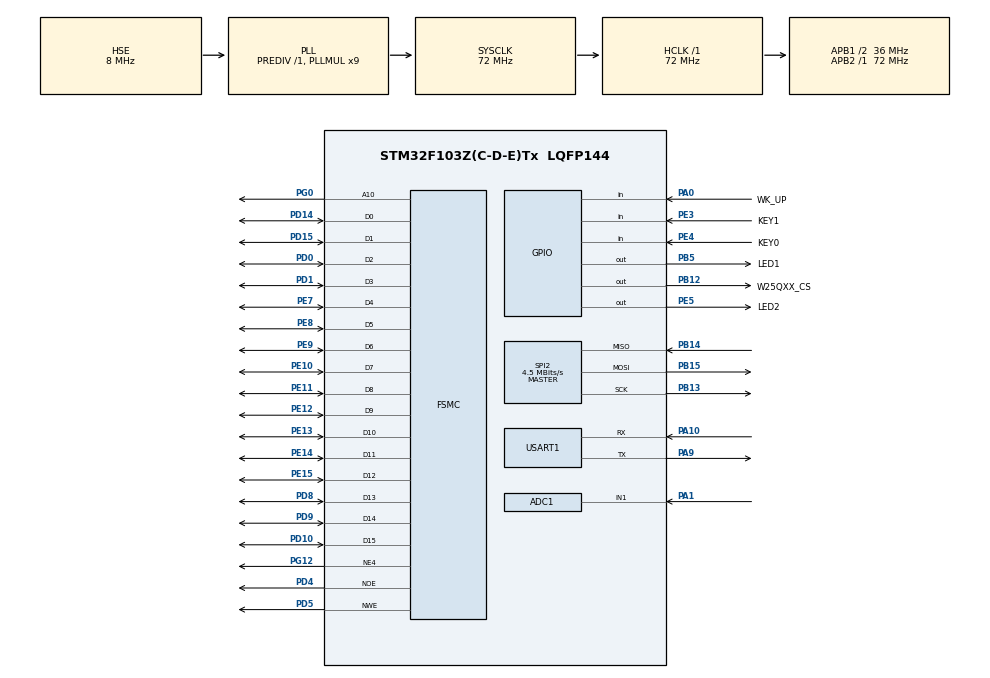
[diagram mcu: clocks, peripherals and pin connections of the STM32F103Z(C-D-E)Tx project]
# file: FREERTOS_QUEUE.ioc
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ADC1.Channel-1\#ChannelRegularConversion=ADC_CHANNEL_1
ADC1.NbrOfConversionFlag=1
ADC1.Rank-1\#ChannelRegularConversion=1
ADC1.SamplingTime-1\#ChannelRegularConversion=ADC_SAMPLETIME_1CYCLE_5
ADC1.master=1
FREERTOS.INCLUDE_xEventGroupSetBitFromISR=1
FREERTOS.INCLUDE_xTaskAbortDelay=1
FREERTOS.INCLUDE_xTaskGetCurrentTaskHandle=1
FREERTOS.INCLUDE_xTaskGetHandle=1
FREERTOS.Queues01=Queue_Keys,10,uint8_t,0,Dynamic,NULL,NULL
FREERTOS.Tasks01=Task_Draw,16,128,AppTask_Draw,Default,NULL,Dynamic,NULL,NULL;Task_ScanKeys,24,128,AppTask_ScanKeys,Default,NULL,Dynamic,NULL,NULL
FSMC.AddressSetupTime4=6
FSMC.BusTurnAroundDuration4=0
FSMC.DataSetupTime4=26
FSMC.ExtendedAddressSetupTime4=3
FSMC.ExtendedBusTurnAroundDuration4=0
FSMC.ExtendedDataSetupTime4=6
FSMC.ExtendedMode4=FSMC_EXTENDED_MODE_ENABLE
Mcu.Family=STM32F1
Mcu.Name=STM32F103Z(C-D-E)Tx
Mcu.Package=LQFP144
NVIC.PriorityGroup=NVIC_PRIORITYGROUP_4
NVIC.RTC_Alarm_IRQn=true\:5\:0\:false\:false\:true\:true\:true\:true\:true
NVIC.RTC_IRQn=true\:5\:0\:false\:false\:true\:true\:true\:true\:true
NVIC.TIM6_IRQn=true\:15\:0\:false\:false\:true\:false\:false\:true\:true
NVIC.TimeBase=TIM6_IRQn
NVIC.TimeBaseIP=TIM6
NVIC.USART1_IRQn=true\:5\:0\:false\:false\:true\:true\:true\:true\:true
OSC_IN.Mode=HSE-External-Oscillator
OSC_IN.Signal=RCC_OSC_IN
OSC_OUT.Mode=HSE-External-Oscillator
OSC_OUT.Signal=RCC_OSC_OUT
PA0-WKUP.GPIO_Label=WK_UP
PA0-WKUP.GPIO_PuPd=GPIO_PULLDOWN
PA0-WKUP.Signal=GPIO_Input
PA1.Signal=ADCx_IN1
PA10.Mode=Asynchronous
PA10.Signal=USART1_RX
PA13.Mode=Serial_Wire
PA13.Signal=SYS_JTMS-SWDIO
PA14.Mode=Serial_Wire
PA14.Signal=SYS_JTCK-SWCLK
PA9.Mode=Asynchronous
PA9.Signal=USART1_TX
PB12.GPIO_Label=W25QXX_CS
PB12.GPIO_PuPd=GPIO_PULLUP
PB12.GPIO_Speed=GPIO_SPEED_FREQ_HIGH
PB12.PinState=GPIO_PIN_SET
PB12.Signal=GPIO_Output
PB13.Mode=Full_Duplex_Master
PB13.Signal=SPI2_SCK
PB14.Mode=Full_Duplex_Master
PB14.Signal=SPI2_MISO
PB15.Mode=Full_Duplex_Master
PB15.Signal=SPI2_MOSI
PB5.GPIO_Label=LED1
PB5.GPIO_Speed=GPIO_SPEED_FREQ_HIGH
PB5.Signal=GPIO_Output
PC14-OSC32_IN.Mode=LSE-External-Oscillator
PC14-OSC32_IN.Signal=RCC_OSC32_IN
PC15-OSC32_OUT.Mode=LSE-External-Oscillator
PC15-OSC32_OUT.Signal=RCC_OSC32_OUT
PD0.Signal=FSMC_D2_DA2
PD1.Signal=FSMC_D3_DA3
PD10.Signal=FSMC_D15_DA15
PD14.Signal=FSMC_D0_DA0
PD15.Signal=FSMC_D1_DA1
PD4.Signal=FSMC_NOE
PD5.Signal=FSMC_NWE
PD8.Signal=FSMC_D13_DA13
PD9.Signal=FSMC_D14_DA14
PE10.Signal=FSMC_D7_DA7
PE11.Signal=FSMC_D8_DA8
PE12.Signal=FSMC_D9_DA9
PE13.Signal=FSMC_D10_DA10
PE14.Signal=FSMC_D11_DA11
PE15.Signal=FSMC_D12_DA12
PE3.GPIO_Label=KEY1
PE3.GPIO_PuPd=GPIO_PULLUP
PE3.Signal=GPIO_Input
PE4.GPIO_Label=KEY0
PE4.GPIO_PuPd=GPIO_PULLUP
PE4.Signal=GPIO_Input
PE5.GPIO_Label=LED2
PE5.GPIO_Speed=GPIO_SPEED_FREQ_HIGH
PE5.Signal=GPIO_Output
PE7.Signal=FSMC_D4_DA4
PE8.Signal=FSMC_D5_DA5
PE9.Signal=FSMC_D6_DA6
PG0.Signal=FSMC_A10
PG12.Mode=NorPsramChipSelect4_4
PG12.Signal=FSMC_NE4
ProjectManager.HeapSize=0x200
ProjectManager.StackSize=0x400
ProjectManager.TargetToolchain=STM32CubeIDE
RCC.AHBFreq_Value=72000000
RCC.APB1CLKDivider=RCC_HCLK_DIV2
RCC.APB1Freq_Value=36000000
RCC.APB1TimFreq_Value=72000000
RCC.APB2Freq_Value=72000000
RCC.APB2TimFreq_Value=72000000
RCC.HCLKFreq_Value=72000000
RCC.PLLMUL=RCC_PLL_MUL9
RCC.PLLSourceVirtual=RCC_PLLSOURCE_HSE
RCC.RTCClockSelection=RCC_RTCCLKSOURCE_LSE
RCC.SYSCLKFreq_VALUE=72000000
RCC.SYSCLKSource=RCC_SYSCLKSOURCE_PLLCLK
RCC.USBFreq_Value=72000000
RTC.AutoPrediv=RTC_AUTO_1_SECOND
RTC.Format=RTC_FORMAT_BIN
SH.ADCx_IN1.0=ADC1_IN1,IN1
SH.FSMC_A10.0=FSMC_A10,A10_4
SH.FSMC_D0_DA0.0=FSMC_D0,16b-d4
SH.FSMC_D10_DA10.0=FSMC_D10,16b-d4
SH.FSMC_D11_DA11.0=FSMC_D11,16b-d4
SH.FSMC_D12_DA12.0=FSMC_D12,16b-d4
SH.FSMC_D13_DA13.0=FSMC_D13,16b-d4
SH.FSMC_D14_DA14.0=FSMC_D14,16b-d4
SH.FSMC_D15_DA15.0=FSMC_D15,16b-d4
SH.FSMC_D1_DA1.0=FSMC_D1,16b-d4
SH.FSMC_D2_DA2.0=FSMC_D2,16b-d4
SH.FSMC_D3_DA3.0=FSMC_D3,16b-d4
SH.FSMC_D4_DA4.0=FSMC_D4,16b-d4
SH.FSMC_D5_DA5.0=FSMC_D5,16b-d4
SH.FSMC_D6_DA6.0=FSMC_D6,16b-d4
SH.FSMC_D7_DA7.0=FSMC_D7,16b-d4
SH.FSMC_D8_DA8.0=FSMC_D8,16b-d4
SH.FSMC_D9_DA9.0=FSMC_D9,16b-d4
SH.FSMC_NOE.0=FSMC_NOE,Lcd4
SH.FSMC_NWE.0=FSMC_NWE,Lcd4
SPI2.BaudRatePrescaler=SPI_BAUDRATEPRESCALER_8
SPI2.CLKPhase=SPI_PHASE_2EDGE
SPI2.CLKPolarity=SPI_POLARITY_HIGH
SPI2.CRCCalculation=SPI_CRCCALCULATION_DISABLE
SPI2.CalculateBaudRate=4.5 MBits/s
SPI2.Direction=SPI_DIRECTION_2LINES
SPI2.Mode=SPI_MODE_MASTER
SPI2.VirtualType=VM_MASTER
USART1.VirtualMode=VM_ASYNC
VP_FREERTOS_VS_CMSIS_V2.Mode=CMSIS_V2
VP_RTC_VS_RTC_Activate.Mode=RTC_Enabled
VP_SYS_VS_tim6.Mode=TIM6
board=custom

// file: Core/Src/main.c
/* USER CODE BEGIN Header */
/**
  ******************************************************************************
  * @file           : main.c
  * @brief          : Main program body
  ******************************************************************************
  * @attention
  *
  * Copyright (c) 2023 STMicroelectronics.
  * All rights reserved.
  *
  * This software is licensed under terms that can be found in the LICENSE file
  * in the root directory of this software component.
  * If no LICENSE file comes with this software, it is provided AS-IS.
  *
  ******************************************************************************
  */
/* USER CODE END Header */
#include "main.h"
#include "cmsis_os.h"
#include "adc.h"
#include "rtc.h"
#include "spi.h"
#include "usart.h"
#include "gpio.h"
#include "fsmc.h"

/* USER CODE BEGIN Includes */
#include "stdio.h"
#include "lcd.h"
#include "w25qxx.h"
#include <string.h>
/* USER CODE END Includes */

void SystemClock_Config(void);
void MX_FREERTOS_Init(void);

int main(void)
{
  /* USER CODE BEGIN 1 */
	int x = 0,FLASH_SIZE,id;
	u8 lcd_id[12],datatemp[20];						//存放LCD ID字符�????????????????
  /* USER CODE END 1 */

  /* MCU Configuration--------------------------------------------------------*/

  /* Reset of all peripherals, Initializes the Flash interface and the Systick. */
  HAL_Init();

  /* Configure the system clock */
  SystemClock_Config();

  /* Initialize all configured peripherals */
  MX_GPIO_Init();
  MX_USART1_UART_Init();
  MX_FSMC_Init();
  MX_SPI2_Init();
  MX_RTC_Init();
  MX_ADC1_Init();
  /* USER CODE BEGIN 2 */
	LCD_Init();
	POINT_COLOR=RED;     				//画笔颜色：红�????????????????
//	sprintf((char*)lcd_id,"LCD ID:%04X",lcddev.id);//将LCD ID打印到lcd_id数组�????????????????
	LCD_Clear(WHITE);
//	POINT_COLOR=RED;
//	LCD_ShowString(30,40,210,24,24,"WarShip STM32 ^_^");
//	//LCD_ShowString(30,70,200,16,16,"TFTLCD TEST");
//	LCD_ShowString(30,70,200,16,16,"ATOM@ALIENTEK");
//	LCD_ShowString(30,90,200,16,16,lcd_id);		//显示LCD ID
//	//LCD_ShowString(30,110,200,12,12,"2017/5/27");
//	//LCD_ShowString(30,110,200,16,16,"KEY1:Write KEY0:Read  WK_UP:ADD");	//显示提示信息
//	LCD_ShowString(30,110,200,12,12,"RTC TEST");

	////2.设置时间
	//rtc_set_time(2023, 7, 12, 18, 15, 0);
	RTC_TimeTypeDef nTime;
	RTC_DateTypeDef nData;
//	nTime.Hours = 18;
//	nTime.Minutes = 26;
//	nTime.Seconds = 0;
//	nData.Year = 23;
//	nData.Month = 7;
//	nData.Date = 12;
//	HAL_RTC_SetTime(&hrtc,&nTime,RTC_FORMAT_BIN);
//	HAL_RTC_SetDate(&hrtc, &nData, RTC_FORMAT_BIN);

	//rtc_get_time();
//	HAL_RTC_GetTime(&hrtc,&nTime,RTC_FORMAT_BIN);
//	HAL_RTC_GetDate(&hrtc, &nData, RTC_FORMAT_BIN);
//
//	sprintf((char*)datatemp,"%02d h,%02d m,%02d s",nTime.Hours,nTime.Minutes,nTime.Seconds);
//	//sprintf((char*)datatemp,"%02d h,%02d m,%02d s",calendar.hour,calendar.min,calendar.sec);
//	LCD_ShowString(30,150,200,12,12,datatemp);
//	memset(datatemp,'\0',sizeof(datatemp));
//	sprintf((char*)datatemp,"%04d y,%02d m,%02d d",nData.Year + 2000,nData.Month,nData.Date);
//	//sprintf((char*)datatemp,"%04d y,%02d m,%02d d",calendar.year,calendar.month,calendar.date);
//	LCD_ShowString(30,130,200,12,12,datatemp);
	//__HAL_RTC_ALARM_ENABLE_IT(&hrtc, RTC_IT_SEC);   /* 允许秒中�??????? */

	////4.闹钟
//	if(calendar.sec < 50)
//	{
//		calendar.sec += 10;
//	}
//	else
//	{
//		calendar.min += 1;
//		calendar.sec = 0;
//	}

//	RTC_AlarmTypeDef aTime;
//
//	aTime.Alarm = 0;
//	aTime.AlarmTime.Hours = nTime.Hours;
//	aTime.AlarmTime.Minutes = nTime.Minutes;
//	if(calendar.sec < 50)
//	{
//		aTime.AlarmTime.Seconds = nTime.Seconds + 10;
//	}
//	else
//	{
//		aTime.AlarmTime.Minutes += 1;
//		aTime.AlarmTime.Seconds = 0;
//	}
	//HAL_RTC_SetAlarm_IT(&hrtc,&aTime,RTC_FORMAT_BIN);

	//rtc_set_alarm(calendar.year, calendar.month, calendar.date, calendar.hour, calendar.min, calendar.sec);

  /* USER CODE END 2 */

  /* Init scheduler */
  osKernelInitialize();  /* Call init function for freertos objects (in freertos.c) */
  MX_FREERTOS_Init();

  /* Start scheduler */
  osKernelStart();
  /* We should never get here as control is now taken by the scheduler */
  /* Infinite loop */
  /* USER CODE BEGIN WHILE */
	while (1)
	{
		////1.获取时间
//		rtc_get_time();
//		sprintf((char*)datatemp,"%04d y,%02d m,%02d d",calendar.year,calendar.month,calendar.date);
//		LCD_ShowString(30,130,200,12,12,datatemp);
//		memset(datatemp,'\0',sizeof(datatemp));
//		sprintf((char*)datatemp,"%02d h,%02d m,%02d s",calendar.hour,calendar.min,calendar.sec);
//		LCD_ShowString(30,150,200,12,12,datatemp);
		//printf("test\n\r");
		osDelay(500);
		HAL_GPIO_TogglePin(LED1_GPIO_Port,LED1_Pin);
    /* USER CODE END WHILE */

  }
}

void SystemClock_Config(void)
{
  RCC_OscInitTypeDef RCC_OscInitStruct = {0};
  RCC_ClkInitTypeDef RCC_ClkInitStruct = {0};
  RCC_PeriphCLKInitTypeDef PeriphClkInit = {0};

  /** Initializes the RCC Oscillators according to the specified parameters
  * in the RCC_OscInitTypeDef structure.
  */
  RCC_OscInitStruct.OscillatorType = RCC_OSCILLATORTYPE_HSE|RCC_OSCILLATORTYPE_LSE;
  RCC_OscInitStruct.HSEState = RCC_HSE_ON;
  RCC_OscInitStruct.HSEPredivValue = RCC_HSE_PREDIV_DIV1;
  RCC_OscInitStruct.LSEState = RCC_LSE_ON;
  RCC_OscInitStruct.HSIState = RCC_HSI_ON;
  RCC_OscInitStruct.PLL.PLLState = RCC_PLL_ON;
  RCC_OscInitStruct.PLL.PLLSource = RCC_PLLSOURCE_HSE;
  RCC_OscInitStruct.PLL.PLLMUL = RCC_PLL_MUL9;
  if (HAL_RCC_OscConfig(&RCC_OscInitStruct) != HAL_OK)
  {
    Error_Handler();
  }

  /** Initializes the CPU, AHB and APB buses clocks
  */
  RCC_ClkInitStruct.ClockType = RCC_CLOCKTYPE_HCLK|RCC_CLOCKTYPE_SYSCLK
                              |RCC_CLOCKTYPE_PCLK1|RCC_CLOCKTYPE_PCLK2;
  RCC_ClkInitStruct.SYSCLKSource = RCC_SYSCLKSOURCE_PLLCLK;
  RCC_ClkInitStruct.AHBCLKDivider = RCC_SYSCLK_DIV1;
  RCC_ClkInitStruct.APB1CLKDivider = RCC_HCLK_DIV2;
  RCC_ClkInitStruct.APB2CLKDivider = RCC_HCLK_DIV1;

  if (HAL_RCC_ClockConfig(&RCC_ClkInitStruct, FLASH_LATENCY_2) != HAL_OK)
  {
    Error_Handler();
  }
  PeriphClkInit.PeriphClockSelection = RCC_PERIPHCLK_RTC|RCC_PERIPHCLK_ADC;
  PeriphClkInit.RTCClockSelection = RCC_RTCCLKSOURCE_LSE;
  PeriphClkInit.AdcClockSelection = RCC_ADCPCLK2_DIV2;
  if (HAL_RCCEx_PeriphCLKConfig(&PeriphClkInit) != HAL_OK)
  {
    Error_Handler();
  }
}

/* USER CODE BEGIN 4 */

void delay_us(uint32_t udelay)
{
  uint32_t startval,tickn,delays,wait;

  startval = SysTick->VAL;
  tickn = HAL_GetTick();
  //sysc = 72000;  //SystemCoreClock / (1000U / uwTickFreq);
  delays =udelay * 72; //sysc / 1000 * udelay;
  if(delays > startval)
    {
      while(HAL_GetTick() == tickn)
        {

        }
      wait = 72000 + startval - delays;
      while(wait < SysTick->VAL)
        {

        }
    }
  else
    {
      wait = startval - delays;
      while(wait < SysTick->VAL && HAL_GetTick() == tickn)
        {

        }
    }
}

void delay_ms(uint32_t udelay)
{
	HAL_Delay(udelay);
	//osDelay(udelay);
}
/* USER CODE END 4 */

void HAL_TIM_PeriodElapsedCallback(TIM_HandleTypeDef *htim)
{
  if (htim->Instance == TIM6) {
    HAL_IncTick();
  }
}

void Error_Handler(void)
{
  __disable_irq();
  while (1)
  {
  }
}

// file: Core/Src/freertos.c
/* USER CODE BEGIN Header */
/**
  ******************************************************************************
  * File Name          : freertos.c
  * Description        : Code for freertos applications
  ******************************************************************************
  * @attention
  *
  * Copyright (c) 2023 STMicroelectronics.
  * All rights reserved.
  *
  * This software is licensed under terms that can be found in the LICENSE file
  * in the root directory of this software component.
  * If no LICENSE file comes with this software, it is provided AS-IS.
  *
  ******************************************************************************
  */
/* USER CODE END Header */

#include "FreeRTOS.h"
#include "task.h"
#include "main.h"
#include "cmsis_os.h"

/* USER CODE BEGIN Includes */
#include "lcd.h"
#include "adc.h"
#include "gpio.h"
#include "queue.h"
/* USER CODE END Includes */

/* USER CODE BEGIN PD */
const uint8_t KeyCodeLeft =0x01; //按键代码KeyLeft
const uint8_t KeyCodeRight =0x02; //按键代码KeyRight
//const uint8_t KeyCodeUp =0x03; //按键代码KeyUp
const uint8_t KeyCodeDown =0x04; //按键代码KeyDown

uint16_t curScreenX=100; //LCD当前X
uint16_t curScreenY=260; //LCD当前Y
uint16_t lastScreenX=100; // LCD前一步的X
uint16_t lastScreenY=260; // LCD前一步的Y
/* USER CODE END PD */

/* Definitions for Task_Draw */
osThreadId_t Task_DrawHandle;
const osThreadAttr_t Task_Draw_attributes = {
  .name = "Task_Draw",
  .stack_size = 128 * 4,
  .priority = (osPriority_t) osPriorityBelowNormal,
};
/* Definitions for Task_ScanKeys */
osThreadId_t Task_ScanKeysHandle;
const osThreadAttr_t Task_ScanKeys_attributes = {
  .name = "Task_ScanKeys",
  .stack_size = 128 * 4,
  .priority = (osPriority_t) osPriorityNormal,
};
/* Definitions for Queue_Keys */
osMessageQueueId_t Queue_KeysHandle;
const osMessageQueueAttr_t Queue_Keys_attributes = {
  .name = "Queue_Keys"
};

void AppTask_Draw(void *argument);
void AppTask_ScanKeys(void *argument);

void MX_FREERTOS_Init(void); /* (MISRA C 2004 rule 8.1) */

void MX_FREERTOS_Init(void) {

  /* Create the queue(s) */
  /* creation of Queue_Keys */
  Queue_KeysHandle = osMessageQueueNew (10, sizeof(uint8_t), &Queue_Keys_attributes);

  /* Create the thread(s) */
  /* creation of Task_Draw */
  Task_DrawHandle = osThreadNew(AppTask_Draw, NULL, &Task_Draw_attributes);

  /* creation of Task_ScanKeys */
  Task_ScanKeysHandle = osThreadNew(AppTask_ScanKeys, NULL, &Task_ScanKeys_attributes);

}

void AppTask_Draw(void *argument)
{
  /* USER CODE BEGIN AppTask_Draw */
	TickType_t ticks1=pdMS_TO_TICKS(1000); //时间（ms）转换为节拍�?
	TickType_t previousWakeTime= xTaskGetTickCount();
	LCD_ShowString(30,5,210,12,12,"Demo:Using a Queue");
	char *aName = pcQueueGetName(Queue_KeysHandle);
	LCD_ShowString(30,20,210,12,12,"Queue Name =");
	LCD_ShowString(150,20,210,12,12,aName);

	UBaseType_t qSpces = uxQueueSpacesAvailable(Queue_KeysHandle);
	LCD_ShowString(30,35,210,12,12,"Queue Size = ");
	LCD_ShowNum(100,35,qSpces,4,12);
	LCD_ShowString(30,50,210,12,12,"uxQueueMessagesWaiting()= ");
	LCD_ShowString(30,65,210,12,12,"uxQueueSpacesAvailable()= ");

	//LCD_ShowString(30,20,210,12,12,"Queue Name =");
	curScreenX = 30;
	curScreenY = 80;
	lastScreenX = curScreenX;
	lastScreenY = curScreenY;
	int msgCount = 0,freeSpace = 0;
	uint8_t keyCode;
  /* Infinite loop */
	for(;;)
	{
		msgCount=uxQueueMessagesWaiting(Queue_KeysHandle);  //等待读取的消息个数
		LCD_ShowNum(150,50,msgCount,4,12);
		freeSpace=uxQueueSpacesAvailable(Queue_KeysHandle); //剩余空间个数
		LCD_ShowNum(150,65,freeSpace,4,12);

		//读取消息, 阻塞式等待
		BaseType_t  result=xQueueReceive(Queue_KeysHandle, &keyCode, pdMS_TO_TICKS(50));
		if (result != pdTRUE)
			continue;

		if(keyCode == KeyCodeDown)
		{
			lastScreenY += 25;
		}
		else if(keyCode == KeyCodeLeft)
		{
			lastScreenX -= 20;
		}
		else if(keyCode == KeyCodeRight)
		{
			lastScreenX += 20;
		}

		LCD_DrawLine(curScreenX, curScreenY, lastScreenX, lastScreenY);
		curScreenX = lastScreenX;
		curScreenY = lastScreenY;
		HAL_GPIO_TogglePin(LED1_GPIO_Port,LED1_Pin);
		vTaskDelayUntil(&previousWakeTime, ticks1);
	}
  /* USER CODE END AppTask_Draw */
}

void AppTask_ScanKeys(void *argument)
{
  /* USER CODE BEGIN AppTask_ScanKeys */
	TickType_t ticks1=pdMS_TO_TICKS(100); //时间（ms）转换为节拍�?
	TickType_t previousWakeTime= xTaskGetTickCount();
  /* Infinite loop */
	for(;;)
	{
		if(KEY0 == KEY_DOWN)
		{
			xQueueSendToBack(Queue_KeysHandle,&KeyCodeLeft,pdMS_TO_TICKS(100));
			//vTaskDelayUntil(&previousWakeTime, ticks1);
		}
		else if(KEY1 == KEY_DOWN)
		{
			xQueueSendToBack(Queue_KeysHandle,&KeyCodeRight,pdMS_TO_TICKS(100));
			//vTaskDelayUntil(&previousWakeTime, ticks1);
		}
		else if(WK_UP == KEY_DOWN)
		{
			xQueueSendToBack(Queue_KeysHandle,&KeyCodeDown,pdMS_TO_TICKS(100));
			//vTaskDelayUntil(&previousWakeTime, ticks1);
		}
		vTaskDelayUntil(&previousWakeTime, ticks1);

	}
  /* USER CODE END AppTask_ScanKeys */
}
